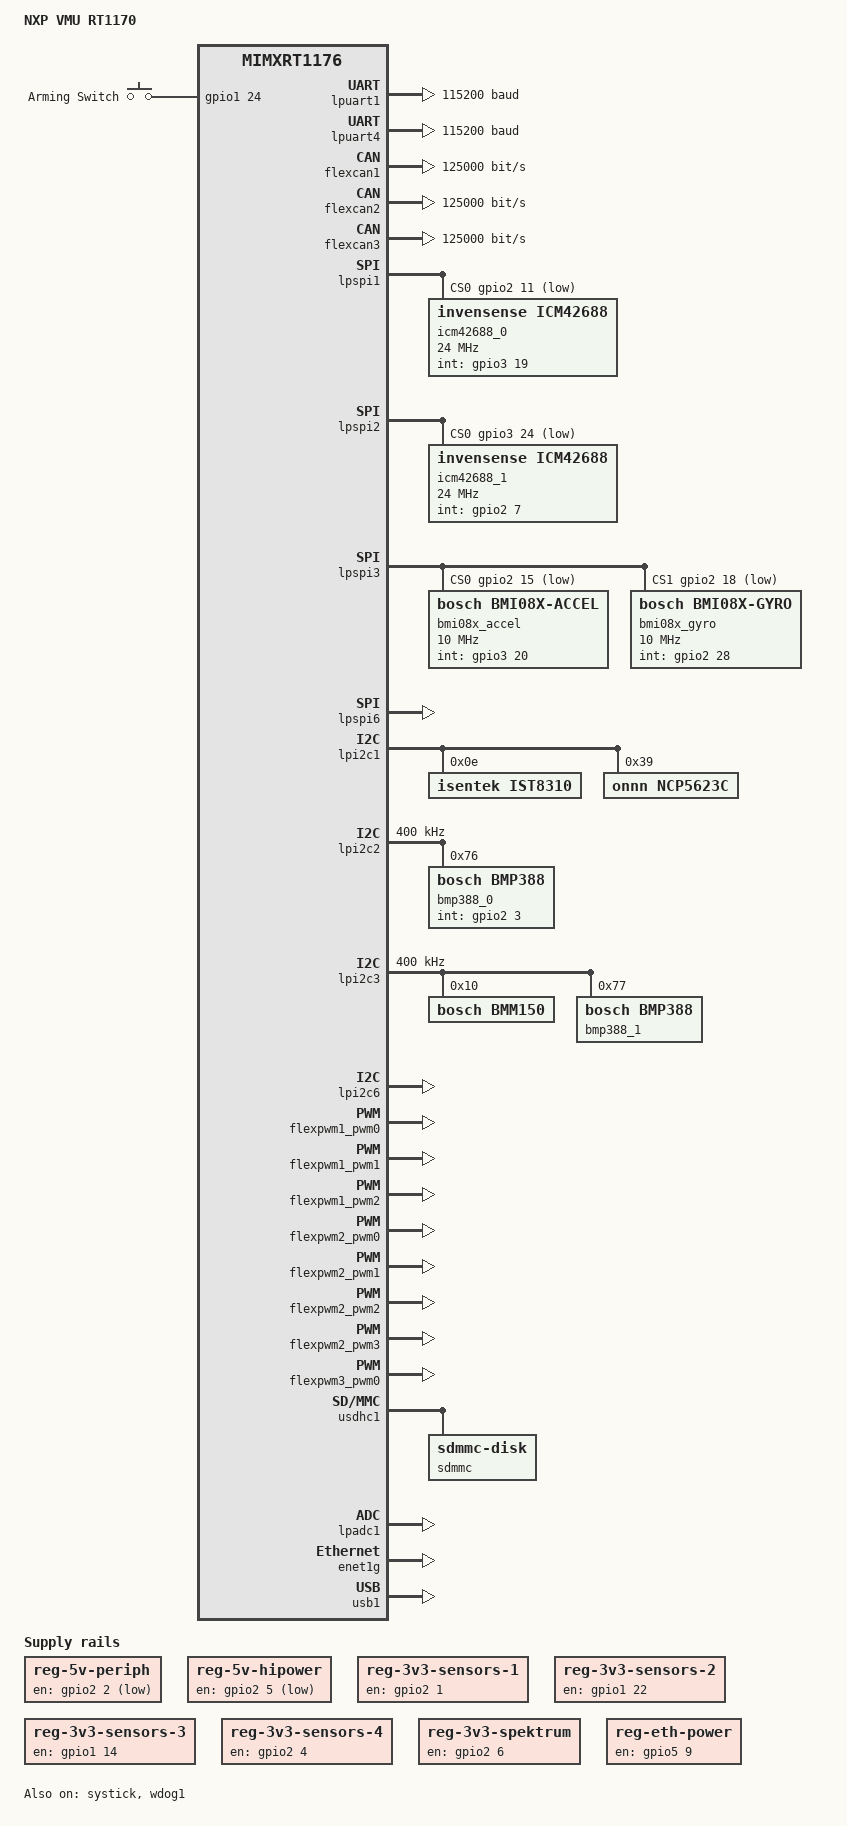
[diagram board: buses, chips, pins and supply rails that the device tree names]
/*
 * Copyright 2023 NXP
 *
 * SPDX-License-Identifier: Apache-2.0
 */

/dts-v1/;

#include <nxp/nxp_rt11xx_cm7.dtsi>
#include <zephyr/dt-bindings/led/led.h>
#include "vmu_rt1170.dtsi"
#include <zephyr/dt-bindings/input/input-event-codes.h>

/ {
	model = "NXP VMU RT1170";
	compatible = "nxp,mimxrt1176";

	aliases {
		led0 = &green_led;
		led1 = &red_led;
		watchdog0 = &wdog1;
		sdhc0 = &usdhc1;
		sw0 = &arming_button;
	};

	chosen {
		zephyr,sram = &ocram1; /* TODO Merge with other OCRAM */
		zephyr,sram1 = &ocram2; /* TODO Merge with other OCRAM */
		zephyr,dtcm = &dtcm;
		zephyr,itcm = &itcm;
		zephyr,console = &lpuart1;
		zephyr,shell-uart = &lpuart1;
		zephyr,canbus = &flexcan1;
		zephyr,flash-controller = &mx25um51345g;
		zephyr,flash = &mx25um51345g;
		zephyr,code-partition = &slot0_partition;
	};

	/* This is the Arming Button on the included GPS module for 10 pin JST-GH */
	gpio_keys {
		compatible = "gpio-keys";
		arming_button: button_0 {
			label = "Arming Switch";
			gpios = <&gpio1 24 (GPIO_PULL_DOWN | GPIO_ACTIVE_HIGH)>;
			zephyr,code = <INPUT_KEY_0>;
		};
	};

	/* This regulator controls VDD_5V_PERIPH onboard supply */
	reg-5v-periph {
		compatible = "regulator-fixed";
		regulator-name = "reg-5v-periph";
		enable-gpios = <&gpio2 2 GPIO_ACTIVE_LOW>;
		regulator-always-on;
		status = "okay";
	};

	/* This regulator controls VDD_5V_HIPOWER onboard supply */
	reg-5v-hipower {
		compatible = "regulator-fixed";
		regulator-name = "reg-5v-hipower";
		enable-gpios = <&gpio2 5 GPIO_ACTIVE_LOW>;
		regulator-always-on;
		status = "okay";
	};

	/* This regulator controls the VDD_3V3_SENSORS1 onboard supply. */
	reg-3v3-sensors-1 {
		compatible = "regulator-fixed";
		regulator-name = "reg-3v3-sensors-1";
		enable-gpios = <&gpio2 1 GPIO_ACTIVE_HIGH>;
		startup-delay-us = <2000>;
		regulator-always-on;
		status = "okay";
	};

	/* This regulator controls the VDD_3V3_SENSORS2 onboard supply. */
	reg-3v3-sensors-2 {
		compatible = "regulator-fixed";
		regulator-name = "reg-3v3-sensors-2";
		enable-gpios = <&gpio1 22 GPIO_ACTIVE_HIGH>;
		startup-delay-us = <2000>;
		regulator-always-on;
		status = "okay";
	};

	/* This regulator controls the VDD_3V3_SENSORS3 onboard supply. */
	reg-3v3-sensors-3 {
		compatible = "regulator-fixed";
		regulator-name = "reg-3v3-sensors-3";
		enable-gpios = <&gpio1 14 GPIO_ACTIVE_HIGH>;
		startup-delay-us = <2000>;
		regulator-always-on;
		status = "okay";
	};

	/* This regulator controls the VDD_3V3_SENSORS4 onboard supply. */
	reg-3v3-sensors-4 {
		compatible = "regulator-fixed";
		regulator-name = "reg-3v3-sensors-4";
		enable-gpios = <&gpio2 4 GPIO_ACTIVE_HIGH>;
		startup-delay-us = <2000>;
		regulator-always-on;
		status = "okay";
	};

	/* This regulator controls VDD_3V3_SPEKTRUM onboard supply */
	reg-3v3-spektrum {
		compatible = "regulator-fixed";
		regulator-name = "reg-3v3-spektrum";
		enable-gpios = <&gpio2 6 GPIO_ACTIVE_HIGH>;
		regulator-always-on;
		status = "okay";
	};

	/* This regulator controls ETH_VDD_3V3 supply to power up the TJA1103 PHY */
	reg-eth-power {
		compatible = "regulator-fixed";
		regulator-name = "reg-eth-power";
		enable-gpios = <&gpio5 9 GPIO_ACTIVE_HIGH>;
		regulator-always-on;
		status = "okay";
	};
};


&gpio1 {
	status = "okay";
};

&gpio2 {
	status = "okay";
};

&gpio3 {
	status = "okay";
};

&gpio4 {
	status = "okay";
};

&gpio5 {
	status = "okay";
};

&gpio6 {
	status = "okay";
};

&gpio7 {
	status = "okay";
};

&gpio8 {
	status = "okay";
};

&gpio9 {
	status = "okay";
};

&lpuart1 {
	status = "okay";
	current-speed = <115200>;
};

&lpuart4 {
	status = "okay";
	current-speed = <115200>;
};


&flexcan1 {
	status = "okay";
	pinctrl-0 = <&pinmux_flexcan1>;
	pinctrl-names = "default";
	bus-speed = <125000>;
	bus-speed-data = <1000000>;
	can-transceiver {
		max-bitrate = <5000000>;
	};
};

&flexcan2 {
	status = "okay";
	pinctrl-0 = <&pinmux_flexcan2>;
	pinctrl-names = "default";
	bus-speed = <125000>;
	bus-speed-data = <1000000>;
	can-transceiver {
		max-bitrate = <5000000>;
	};
};

&flexcan3 {
	status = "okay";
	pinctrl-0 = <&pinmux_flexcan3>;
	pinctrl-names = "default";
	bus-speed = <125000>;
	bus-speed-data = <1000000>;
	can-transceiver {
		max-bitrate = <5000000>;
	};
};

&lpspi1 {
	status = "okay";
	cs-gpios =<&gpio2 11 GPIO_ACTIVE_LOW>;

	icm42688_0: icm42688p0@0 {
		compatible = "invensense,icm42688";
		reg = <0>;
		int-gpios = <&gpio3 19 GPIO_ACTIVE_HIGH>;
		spi-max-frequency = <24000000>;
		accel-hz = <1000>;
		accel-fs = <16>;
		gyro-hz = <1000>;
		gyro-fs = <2000>;
	};
};

&lpspi2 {
	status = "okay";
	cs-gpios =<&gpio3 24 GPIO_ACTIVE_LOW>;

	icm42688_1: icm42688p1@0 {
		compatible = "invensense,icm42688";
		reg = <0>;
		int-gpios = <&gpio2 7 GPIO_ACTIVE_HIGH>;
		spi-max-frequency = <24000000>;
		accel-hz = <1000>;
		accel-fs = <16>;
		gyro-hz = <1000>;
		gyro-fs = <2000>;
	};
};

&lpspi3 {
	status = "okay";
	cs-gpios = <&gpio2 15 GPIO_ACTIVE_LOW>,
		<&gpio2 18 GPIO_ACTIVE_LOW>;


	bmi08x_accel: bmi08x@0 {
		compatible = "bosch,bmi08x-accel";
		reg = <0>;
		int-gpios = <&gpio3 20 GPIO_ACTIVE_HIGH>;
		spi-max-frequency = <10000000>;
		int1-map-io = <0x01>;
		int2-map-io = <0x00>;
		int1-conf-io = <0x04>;
		int2-conf-io = <0x00>;
		accel-hz = "800";
		accel-fs = <24>;
	};

	bmi08x_gyro: bmi08x@1 {
		compatible = "bosch,bmi08x-gyro";
		reg = <1>;
		int-gpios = <&gpio2 28 GPIO_ACTIVE_HIGH>;
		spi-max-frequency = <10000000>;
		int3-4-map-io = <0x01>;
		int3-4-conf-io = <0x02>;
		gyro-hz = "1000_116";
		gyro-fs = <1000>;
	};
};

&lpspi6 {
	status = "okay";
};

&lpi2c1 {
	status = "okay";

	ist8310: ist8310@e {
		compatible = "isentek,ist8310";
		reg = <0xe>;

	};

	ncp5623c: ncp5623c@39 {
		compatible = "onnn,ncp5623c";
		reg = <0x39>;

		led_0 {
			label = "GNSS LED";
			index = <0>;
			color-mapping =
				<LED_COLOR_ID_RED>,
				<LED_COLOR_ID_GREEN>,
				<LED_COLOR_ID_BLUE>;
		};
	};
};

&lpi2c2 {
	status = "okay";
	clock-frequency = <I2C_BITRATE_FAST>;

	bmp388_0: bmp388@76 {
		compatible = "bosch,bmp388";
		int-gpios = <&gpio2 3 GPIO_ACTIVE_HIGH>;
		reg = <0x76>;
		status = "okay";
		odr = "50";
		osr-press = <4>;
		osr-temp = <2>;
	};
};

&lpi2c3 {
	status = "okay";
	clock-frequency = <I2C_BITRATE_FAST>;

	bmm150: bmm150@10 {
		compatible = "bosch,bmm150";
		status = "okay";
		reg = <0x10>;
	};

	bmp388_1: bmp388@77 {
		compatible = "bosch,bmp388";
		reg = <0x77>;
		status = "okay";
		odr = "50";
		osr-press = <4>;
		osr-temp = <2>;
	};
};

&lpi2c6 {
	status = "okay";
};

&flexpwm1_pwm0 {
	status = "okay";
	pinctrl-0 = <&pinmux_flexpwm_vmu_ch1>;
	pinctrl-names = "default";
	nxp,prescaler = <64>;
};

&flexpwm1_pwm1 {
	status = "okay";
	pinctrl-0 = <&pinmux_flexpwm_vmu_ch2>;
	pinctrl-names = "default";
	nxp,prescaler = <64>;
};

&flexpwm1_pwm2	{
	status = "okay";
	pinctrl-0 = <&pinmux_flexpwm_vmu_ch3>;
	pinctrl-names = "default";
	nxp,prescaler = <64>;
};

&flexpwm2_pwm0	{
	status = "okay";
	pinctrl-0 = <&pinmux_flexpwm_vmu_ch4>;
	pinctrl-names = "default";
	nxp,prescaler = <64>;
};

&flexpwm2_pwm1	{
	status = "okay";
	pinctrl-0 = <&pinmux_flexpwm_vmu_ch5>;
	pinctrl-names = "default";
	nxp,prescaler = <64>;
};

&flexpwm2_pwm2	{
	status = "okay";
	pinctrl-0 = <&pinmux_flexpwm_vmu_ch6>;
	pinctrl-names = "default";
	nxp,prescaler = <64>;
};

&flexpwm2_pwm3	{
	status = "okay";
	pinctrl-0 = <&pinmux_flexpwm_vmu_ch7>;
	pinctrl-names = "default";
	nxp,prescaler = <64>;
};

&flexpwm3_pwm0	{
	status = "okay";
	pinctrl-0 = <&pinmux_flexpwm_vmu_ch8>;
	pinctrl-names = "default";
	nxp,prescaler = <64>;
};


&gpt5 {
	compatible = "nxp,gpt-ppm-input";
	pinctrl-0 = <&pinmux_gpt_ppm>;
	pinctrl-names = "default";
	capture-channel = <1>;
};

&usdhc1 {
	status = "okay";
	no-1-8-v;
	pwr-gpios = <&gpio1 1 GPIO_ACTIVE_HIGH>;
	sdmmc {
		compatible = "zephyr,sdmmc-disk";
		status = "okay";
	};
};

&edma0 {
	status = "okay";
};

&lpadc1 {
	status = "okay";
};

/* GPT and Systick are enabled. If power management is enabled, the GPT
 * timer will be used instead of systick, as allows the core clock to
 * be gated.
 */
&gpt_hw_timer {
	status = "disabled";
};

&systick {
	status = "okay";
};

&wdog1 {
	status = "okay";
};

&enet1g {
	status = "okay";
	int-gpios = <&gpio5 10 GPIO_ACTIVE_HIGH>;
};

zephyr_udc0: &usb1 {
	status = "okay";
};
